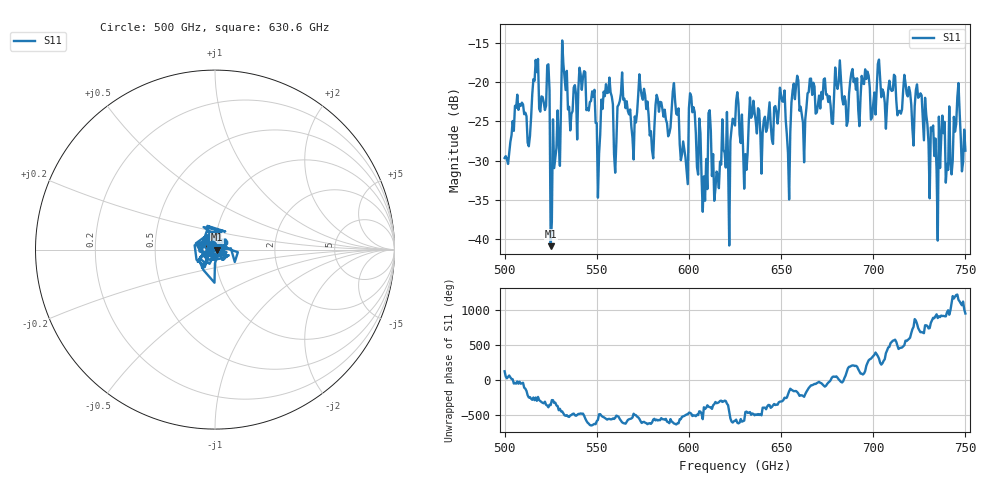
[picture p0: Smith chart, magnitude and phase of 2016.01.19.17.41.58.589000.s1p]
!Created with skrf (http://scikit-rf.org).
# GHz S RI R 50.0
!freq ReS11 ImS11
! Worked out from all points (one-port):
!   401 points, 500 GHz to 750 GHz, reference 50 ohm
!   lowest |S11| = -40.9 dB at 525 GHz (marker M1), VSWR 1.02, Z = 50.9 - j0.0182 ohm
!   |S11| at or under -10 dB: start of sweep to end of sweep
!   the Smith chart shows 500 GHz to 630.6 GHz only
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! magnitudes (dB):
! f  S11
! 500 GHz  -29.7
! 506.9 GHz  -21.6
! 513.1 GHz  -28.2
! 516.9 GHz  -17.2
! 523.1 GHz  -17.8
! 525 GHz  -40.9
! 526.2 GHz  -24.7
! 531.2 GHz  -14.7
! 542.5 GHz  -19.4
! 550.6 GHz  -34.7
! 562.5 GHz  -22.4
! 593.8 GHz  -24.2
! 598.1 GHz  -29.6
! 601.9 GHz  -23.8
! 608.8 GHz  -35.1
! 610.6 GHz  -23.9
! 615 GHz  -31.4
! 625 GHz  -25.5
! 630.6 GHz  -29.2
! 634.4 GHz  -24.1
! 650.6 GHz  -22.5
! 653.8 GHz  -29.0
! 656.2 GHz  -21.1
! 687.5 GHz  -19.9
! 718.8 GHz  -21.8
! 733.8 GHz  -27.2
! 745.6 GHz  -21.9
! 750 GHz  -28.7
